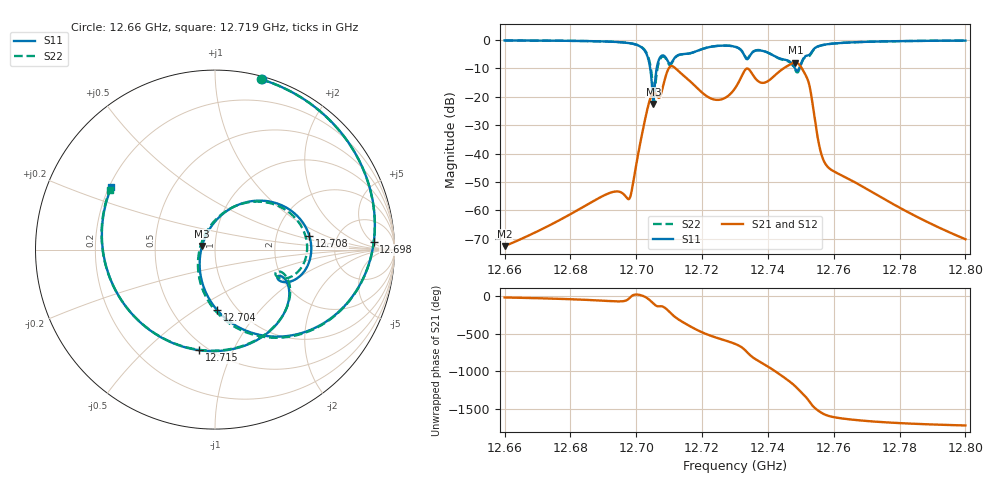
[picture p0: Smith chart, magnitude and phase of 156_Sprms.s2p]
! TOUCHSTONE file generated by CST MICROWAVE STUDIO
! Date and time: Wed Jul 31 18:43:26 2024
! Project name: WaveGuide_BPF-Ver4.1_U-shape_Ku_T3_C4_CWA_2.cst
! Parameters = {cavity_h=16; cavity_l0=10; cavity_l1=15.1861; cavity_l2=16.8547; cavity_l3=17.099; cavity_l4=17.303; cavity_l5=17.0959; cavity_l6=17.6141; cavity_r=2.5; cavity_screw_l=0.5; cavity_screw_r=1.5; cavity_w=8; iris_h00=0; iris_h01=8.8124; iris_h112=0; iris_h12=5.5943; iris_h211=3.6624; ir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
! Header version: 2018
! Port assignment regex: !\s*Touchstone port\s*([0-9]+)\s*=\s*(CST MWS port|CST DS port)\s*([0-9]+|Zmin|Zmax)\s*\(\"(.*)\"\)(\s*mode\s*([0-9]+))?.*
! Touchstone port assignment:
! Touchstone port 1 = CST MWS port 1 ("")
! Touchstone port 2 = CST MWS port 2 ("")
# GHz S RI R 50
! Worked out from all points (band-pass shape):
!   5001 points, 12.66 GHz to 12.8 GHz, reference 50 ohm
!   highest |S21| = -7.95 dB at 12.748 GHz (marker M1); lowest = -72.7 dB at 12.66 GHz (marker M2)
!   |S21| within 3 dB of the highest: 12.70947 GHz to 12.71283 GHz (3.364 MHz wide, 0.0265 % of centre); 12.74362 GHz to 12.7508 GHz (7.179 MHz wide, 0.0563 % of centre)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
!   lowest |S11| = -22.5 dB at 12.705 GHz (marker M3), VSWR 1.16, Z = 43.2 + j1.7 ohm
!   |S11| at or under -10 dB: 12.70424 GHz to 12.70621 GHz (1.97 MHz wide, 0.0155 % of centre); 12.74823 GHz to 12.7495 GHz (1.275 MHz wide, 0.01 % of centre)
!   |S22| runs from -21.6 to -0.1 dB; largest |S21 - S12| = 1e-09
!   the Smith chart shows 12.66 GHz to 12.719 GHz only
!   S11 on the Smith chart (normalised r, x): 12.66 GHz: 0.02, +1.31; 12.698 GHz: 14, +6; 12.704 GHz: 0.81, -0.62; 12.708 GHz: 3.12, +0.65; 12.715 GHz: 0.45, -0.75; 12.719 GHz: 0.21, +0.27
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12.66  0.2602 0.9479  0.00022 -7.63e-05  0.00022 -7.63e-05  0.2545 0.9495
12.68335  0.6542 0.7062  0.000735 -0.000817  0.000735 -0.000817  0.6497 0.7105
12.6976  0.8849 0.0433  0.0012 -0.00101  0.0012 -0.00101  0.8858 0.0521
12.70416  0.0133 -0.3386  0.0492 -0.0749  0.0492 -0.0749  0.047 -0.3855
12.70519  -0.0722 0.0196  -0.0184 -0.116  -0.0184 -0.116  -0.094 -0.0525
12.70668  0.3207 0.2643  -0.0706 -0.0659  -0.0706 -0.0659  0.2556 0.2667
12.70777  0.5263 0.0742  -0.0915 -0.0863  -0.0915 -0.0863  0.494 0.1036
12.71135  0.4092 -0.2054  -0.0424 0.3341  -0.0424 0.3341  0.41 -0.1772
12.71468  -0.0897 -0.5603  0.2282 0.000385  0.2282 0.000385  -0.07 -0.5604
12.71942  -0.5774 0.3469  -0.0429 -0.1197  -0.0429 -0.1197  -0.5857 0.3329
12.72406  0.1526 0.7664  -0.0876 0.013  -0.0876 0.013  0.1319 0.7715
12.73  0.7497 0.1329  0.01 0.1405  0.01 0.1405  0.7473 0.1645
12.73339  0.4323 -0.1852  0.304 -0.0612  0.304 -0.0612  0.4539 -0.1675
12.7382  0.1161 -0.6373  -0.1726 -0.0348  -0.1726 -0.0348  0.1633 -0.6342
12.74179  -0.5129 -0.1243  -0.0188 0.2281  -0.0188 0.2281  -0.4983 -0.178
12.74484  -0.072 0.4485  0.3187 0.0146  0.3187 0.0146  -0.1018 0.4316
12.74834  0.2904 0.1032  -0.1876 -0.3537  -0.1876 -0.3537  0.2769 0.0972
12.751  0.4808 0.1038  -0.1572 0.2193  -0.1572 0.2193  0.4665 0.1068
12.75335  0.6121 -0.1335  0.0907 -0.00634  0.0907 -0.00634  0.5971 -0.1109
12.75783  0.3591 -0.7594  -0.00478 -0.00384  -0.00478 -0.00384  0.3675 -0.7531
12.77668  -0.8408 -0.4421  -0.000765 0.0012  -0.000765 0.0012  -0.8391 -0.4454
12.8  -0.9631 0.1687  3.46e-05 0.000307  3.46e-05 0.000307  -0.9638 0.1651
